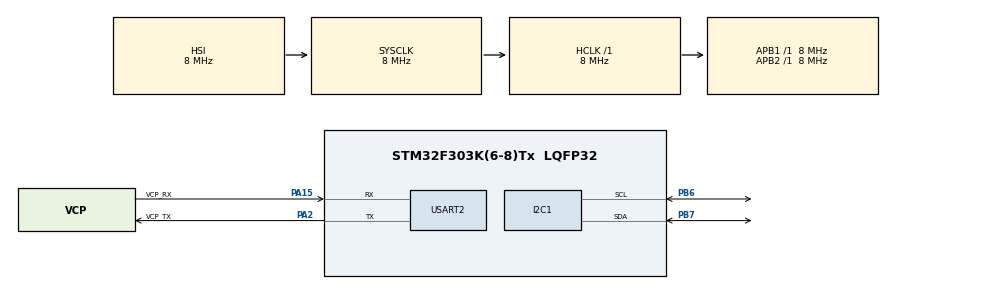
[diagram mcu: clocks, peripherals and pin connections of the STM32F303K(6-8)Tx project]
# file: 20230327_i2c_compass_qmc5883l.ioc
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Mcu.Family=STM32F3
Mcu.Name=STM32F303K(6-8)Tx
Mcu.Package=LQFP32
NVIC.PriorityGroup=NVIC_PRIORITYGROUP_4
PA13.GPIO_Label=SWDIO
PA13.Mode=Serial_Wire
PA13.Signal=SYS_JTMS-SWDIO
PA14.GPIO_Label=SWCLK
PA14.Mode=Serial_Wire
PA14.Signal=SYS_JTCK-SWCLK
PA15.GPIO_Label=VCP_RX
PA15.Mode=Asynchronous
PA15.Signal=USART2_RX
PA2.GPIO_Label=VCP_TX
PA2.Mode=Asynchronous
PA2.Signal=USART2_TX
PB6.GPIO_Pu=GPIO_PULLUP
PB6.Mode=I2C
PB6.Signal=I2C1_SCL
PB7.GPIO_Pu=GPIO_PULLUP
PB7.Mode=I2C
PB7.Signal=I2C1_SDA
PF0\ /\ OSC_IN.GPIO_Label=MCO
PF0\ /\ OSC_IN.Mode=HSE-External-Clock-Source
PF0\ /\ OSC_IN.Signal=RCC_OSC_IN
ProjectManager.HeapSize=0x200
ProjectManager.StackSize=0x400
ProjectManager.TargetToolchain=STM32CubeIDE
RCC.AHBFreq_Value=8000000
RCC.APB1Freq_Value=8000000
RCC.APB2Freq_Value=8000000
RCC.CortexFreq_Value=8000000
RCC.HSE_VALUE=8000000
RCC.HSI_VALUE=8000000
RCC.SYSCLKFreq_VALUE=8000000
USART2.VirtualMode-Asynchronous=VM_ASYNC
board=NUCLEO-F303K8

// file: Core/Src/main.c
/* USER CODE BEGIN Header */
/**
  ******************************************************************************
  * @file           : main.c
  * @brief          : Main program body
  ******************************************************************************
  * @attention
  *
  * Copyright (c) 2023 STMicroelectronics.
  * All rights reserved.
  *
  * This software is licensed under terms that can be found in the LICENSE file
  * in the root directory of this software component.
  * If no LICENSE file comes with this software, it is provided AS-IS.
  *
  ******************************************************************************
  */
/* USER CODE END Header */
#include "main.h"

/* USER CODE BEGIN Includes */
#include "QMC5883L.h"
#include <math.h>
#include <stdint.h>

#define PI 3.1415926535897932384626433832795
#define M_PI 3.14159265358979323846
/* USER CODE END Includes */

I2C_HandleTypeDef hi2c1;

UART_HandleTypeDef huart2;

void SystemClock_Config(void);
static void MX_GPIO_Init(void);
static void MX_USART2_UART_Init(void);
static void MX_I2C1_Init(void);

/* USER CODE BEGIN 0 */
float temp_C;
float headingDegrees;
/* USER CODE END 0 */

int main(void)
{

  /* MCU Configuration--------------------------------------------------------*/

  /* Reset of all peripherals, Initializes the Flash interface and the Systick. */
  HAL_Init();

  /* Configure the system clock */
  SystemClock_Config();

  /* Initialize all configured peripherals */
  MX_GPIO_Init();
  MX_USART2_UART_Init();
  MX_I2C1_Init();
  /* USER CODE BEGIN 2 */
  compass_init();

  /* USER CODE END 2 */

  /* Infinite loop */
  while (1)
  {

    /* USER CODE BEGIN 3 */
	  uint16_t x,y,z;
	  uint16_t t;
	  uint8_t abc;

	  compass_read(&x,&y,&z);
	  HAL_Delay(20);
	  //tout_read(&t);
//	  temp_C = ((t / 100.0f) - 32) / (float)1.8;
	  temp_C = t/100;

	  float heading = atan2(y, x);

	  float declinationAngle = 0.0404;
	  heading += declinationAngle;

	   // Correct for when signs are reversed.
	  if(heading < 0)
	    heading += 2*PI;

	  // Check for wrap due to addition of declination.
	  if(heading > 2*PI)
	    heading -= 2*PI;

	  // Convert radians to degrees for readability.
	  headingDegrees = heading * 180/M_PI;

	  HAL_Delay(20);
  }
  /* USER CODE END 3 */
}

void SystemClock_Config(void)
{
  RCC_OscInitTypeDef RCC_OscInitStruct = {0};
  RCC_ClkInitTypeDef RCC_ClkInitStruct = {0};
  RCC_PeriphCLKInitTypeDef PeriphClkInit = {0};

  /** Initializes the RCC Oscillators according to the specified parameters
  * in the RCC_OscInitTypeDef structure.
  */
  RCC_OscInitStruct.OscillatorType = RCC_OSCILLATORTYPE_HSI;
  RCC_OscInitStruct.HSIState = RCC_HSI_ON;
  RCC_OscInitStruct.HSICalibrationValue = RCC_HSICALIBRATION_DEFAULT;
  RCC_OscInitStruct.PLL.PLLState = RCC_PLL_NONE;
  if (HAL_RCC_OscConfig(&RCC_OscInitStruct) != HAL_OK)
  {
    Error_Handler();
  }

  /** Initializes the CPU, AHB and APB buses clocks
  */
  RCC_ClkInitStruct.ClockType = RCC_CLOCKTYPE_HCLK|RCC_CLOCKTYPE_SYSCLK
                              |RCC_CLOCKTYPE_PCLK1|RCC_CLOCKTYPE_PCLK2;
  RCC_ClkInitStruct.SYSCLKSource = RCC_SYSCLKSOURCE_HSI;
  RCC_ClkInitStruct.AHBCLKDivider = RCC_SYSCLK_DIV1;
  RCC_ClkInitStruct.APB1CLKDivider = RCC_HCLK_DIV1;
  RCC_ClkInitStruct.APB2CLKDivider = RCC_HCLK_DIV1;

  if (HAL_RCC_ClockConfig(&RCC_ClkInitStruct, FLASH_LATENCY_0) != HAL_OK)
  {
    Error_Handler();
  }
  PeriphClkInit.PeriphClockSelection = RCC_PERIPHCLK_I2C1;
  PeriphClkInit.I2c1ClockSelection = RCC_I2C1CLKSOURCE_HSI;
  if (HAL_RCCEx_PeriphCLKConfig(&PeriphClkInit) != HAL_OK)
  {
    Error_Handler();
  }
}

static void MX_I2C1_Init(void)
{

  hi2c1.Instance = I2C1;
  hi2c1.Init.Timing = 0x2000090E;
  hi2c1.Init.OwnAddress1 = 0;
  hi2c1.Init.AddressingMode = I2C_ADDRESSINGMODE_7BIT;
  hi2c1.Init.DualAddressMode = I2C_DUALADDRESS_DISABLE;
  hi2c1.Init.OwnAddress2 = 0;
  hi2c1.Init.OwnAddress2Masks = I2C_OA2_NOMASK;
  hi2c1.Init.GeneralCallMode = I2C_GENERALCALL_DISABLE;
  hi2c1.Init.NoStretchMode = I2C_NOSTRETCH_DISABLE;
  if (HAL_I2C_Init(&hi2c1) != HAL_OK)
  {
    Error_Handler();
  }

  /** Configure Analogue filter
  */
  if (HAL_I2CEx_ConfigAnalogFilter(&hi2c1, I2C_ANALOGFILTER_ENABLE) != HAL_OK)
  {
    Error_Handler();
  }

  /** Configure Digital filter
  */
  if (HAL_I2CEx_ConfigDigitalFilter(&hi2c1, 0) != HAL_OK)
  {
    Error_Handler();
  }

}

static void MX_USART2_UART_Init(void)
{

  huart2.Instance = USART2;
  huart2.Init.BaudRate = 38400;
  huart2.Init.WordLength = UART_WORDLENGTH_8B;
  huart2.Init.StopBits = UART_STOPBITS_1;
  huart2.Init.Parity = UART_PARITY_NONE;
  huart2.Init.Mode = UART_MODE_TX_RX;
  huart2.Init.HwFlowCtl = UART_HWCONTROL_NONE;
  huart2.Init.OverSampling = UART_OVERSAMPLING_16;
  huart2.Init.OneBitSampling = UART_ONE_BIT_SAMPLE_DISABLE;
  huart2.AdvancedInit.AdvFeatureInit = UART_ADVFEATURE_NO_INIT;
  if (HAL_UART_Init(&huart2) != HAL_OK)
  {
    Error_Handler();
  }

}

static void MX_GPIO_Init(void)
{

  /* GPIO Ports Clock Enable */
  __HAL_RCC_GPIOF_CLK_ENABLE();
  __HAL_RCC_GPIOA_CLK_ENABLE();
  __HAL_RCC_GPIOB_CLK_ENABLE();

}

void Error_Handler(void)
{
  __disable_irq();
  while (1)
  {
  }
}
